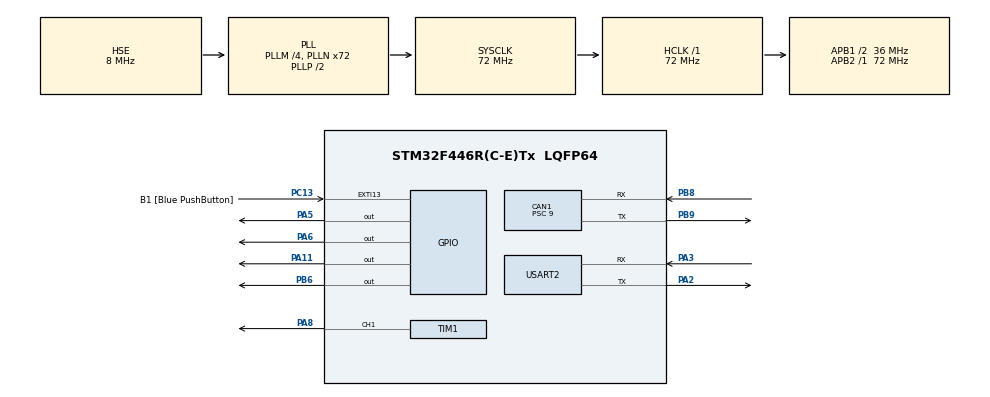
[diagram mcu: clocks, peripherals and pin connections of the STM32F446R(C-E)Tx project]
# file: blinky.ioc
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Mcu.Family=STM32F4
PH0-OSC_IN.Signal=RCC_OSC_IN
RCC.CortexFreq_Value=72000000
TIM14.AutoReloadPreload=TIM_AUTORELOAD_PRELOAD_ENABLE
PA14.GPIO_Label=TCK
TIM1.Pulse-PWM\ Generation1\ CH1=2000
PC13.GPIO_Label=B1 [Blue PushButton]
RCC.SYSCLKSource=RCC_SYSCLKSOURCE_PLLCLK
ProjectManager.StackSize=0x400
TIM1.Prescaler=8
RCC.HCLKFreq_Value=72000000
RCC.APB2TimFreq_Value=72000000
PB6.Signal=GPIO_Output
RCC.AHBFreq_Value=72000000
PH0-OSC_IN.Mode=HSE-External-Oscillator
NVIC.EXTI15_10_IRQn=true\:0\:0\:false\:false\:true\:true\:true
RCC.HSE_VALUE=8000000
NVIC.TIM8_TRG_COM_TIM14_IRQn=true\:0\:0\:false\:false\:true\:true\:true
TIM14.Period=10000
PC14-OSC32_IN.Mode=LSE-External-Oscillator
TIM1.Channel-PWM\ Generation1\ CH1=TIM_CHANNEL_1
PA14.Mode=Serial_Wire
PA8.Signal=S_TIM1_CH1
RCC.FLatency-AdvancedSettings=FLASH_LATENCY_2
PH1-OSC_OUT.Mode=HSE-External-Oscillator
CAN1.Prescaler=9
Mcu.Package=LQFP64
PB9.Signal=CAN1_TX
PA6.Signal=GPIO_Output
USART2.VirtualMode=VM_ASYNC
RCC.APB1TimFreq_Value=72000000
TIM1.Period=4800
VP_TIM14_VS_ClockSourceINT.Mode=Enable_Timer
CAN1.CalculateTimeBit=1000.00
PA8.GPIO_Speed=GPIO_SPEED_FREQ_HIGH
PA3.Signal=USART2_RX
CAN1.CalculateTimeQuantum=250.0
RCC.PLLSourceVirtual=RCC_PLLSOURCE_HSE
PC15-OSC32_OUT.Mode=LSE-External-Oscillator
PC13.Signal=GPXTI13
CAN1.CalculateBaudRate=1000000
RCC.APB1CLKDivider=RCC_HCLK_DIV2
PC14-OSC32_IN.Signal=RCC_OSC32_IN
NVIC.USART2_IRQn=true\:0\:0\:false\:false\:true\:true\:true
PA13.Signal=SYS_JTMS-SWDIO
PA3.Mode=Asynchronous
SH.S_TIM1_CH1.0=TIM1_CH1,PWM Generation1 CH1
CAN1.BS1=CAN_BS1_2TQ
ProjectManager.TargetToolchain=STM32CubeIDE
PB9.Mode=CAN_Activate
RCC.USBFreq_Value=48000000
PC15-OSC32_OUT.Signal=RCC_OSC32_OUT
PA5.Signal=GPIO_Output
board=NUCLEO-F446RE
RCC.VCOOutputFreq_Value=144000000
RCC.APB2Freq_Value=72000000
PH1-OSC_OUT.Signal=RCC_OSC_OUT
PA13.Mode=Serial_Wire
Mcu.Name=STM32F446R(C-E)Tx
TIM14.Prescaler=7200-1
PA13.GPIO_Label=TMS
PA2.Signal=USART2_TX
RCC.48MHZClocksFreq_Value=84000000
RCC.SYSCLKFreq_VALUE=72000000
PC13.GPIO_ModeDefaultEXTI=GPIO_MODE_IT_FALLING
PA11.Signal=GPIO_Output
PA14.Signal=SYS_JTCK-SWCLK
ProjectManager.HeapSize=0x200
RCC.HSI_VALUE=16000000
RCC.PLLQ=3
NVIC.PriorityGroup=NVIC_PRIORITYGROUP_0
RCC.PLLM=4
PB8.Mode=CAN_Activate
RCC.PLLN=72
PA2.Mode=Asynchronous
PB8.Signal=CAN1_RX
RCC.APB1Freq_Value=36000000
NVIC.CAN1_RX0_IRQn=true\:0\:0\:false\:false\:true\:true\:true

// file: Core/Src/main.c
/* USER CODE BEGIN Header */
/**
  ******************************************************************************
  * @file           : main.c
  * @brief          : Main program body
  ******************************************************************************
  * @attention
  *
  * <h2><center>&copy; Copyright (c) 2021 STMicroelectronics.
  * All rights reserved.</center></h2>
  *
  * This software component is licensed by ST under BSD 3-Clause license,
  * the "License"; You may not use this file except in compliance with the
  * License. You may obtain a copy of the License at:
  *                        opensource.org/licenses/BSD-3-Clause
  *
  ******************************************************************************
  */
/* USER CODE END Header */
#include "main.h"

/* USER CODE BEGIN Includes */
#include <string.h>
#include <stdlib.h>
#include <stdbool.h>
/* USER CODE END Includes */

CAN_HandleTypeDef hcan1;

TIM_HandleTypeDef htim1;
TIM_HandleTypeDef htim14;

UART_HandleTypeDef huart2;

/* USER CODE BEGIN PV */
bool cdc_dtr;
uint8_t rx_data[8];
uint8_t tx_data[8];
uint32_t TxMailbox;

CAN_TxHeaderTypeDef pHeader; //declare a specific header for message transmittions
CAN_RxHeaderTypeDef pRxHeader; //declare header for message reception

////

bool is_first = true;
int last_pos;
int cur_pos;
uint8_t UART1_rxBuffer[12] = {0};
/* USER CODE END PV */

void SystemClock_Config(void);
static void MX_GPIO_Init(void);
static void MX_USART2_UART_Init(void);
static void MX_TIM14_Init(void);
static void MX_TIM1_Init(void);
static void MX_CAN1_Init(void);
/* USER CODE BEGIN PFP */
void DMATransferComplete(DMA_HandleTypeDef *hdma);
/* USER CODE END PFP */

/* USER CODE BEGIN 0 */
int x = 0;
int p_target = 8000;
void can_filter_init(void);
/* USER CODE END 0 */

int main(void)
{

  /* MCU Configuration--------------------------------------------------------*/

  /* Reset of all peripherals, Initializes the Flash interface and the Systick. */
  HAL_Init();

  /* Configure the system clock */
  SystemClock_Config();

  /* Initialize all configured peripherals */
  MX_GPIO_Init();
  MX_USART2_UART_Init();
  MX_TIM14_Init();
  MX_TIM1_Init();
  MX_CAN1_Init();
  /* USER CODE BEGIN 2 */
  HAL_TIM_Base_Start_IT(&htim14);
  HAL_TIM_PWM_Start(&htim1, TIM_CHANNEL_1);
  HAL_UART_Receive_IT (&huart2, UART1_rxBuffer, 4);

  can_filter_init();
	HAL_CAN_Start(&hcan1); //start CAN
	HAL_CAN_ActivateNotification(&hcan1, CAN_IT_RX_FIFO0_MSG_PENDING); //enable interrupts
  /* USER CODE END 2 */

  /* Infinite loop */
  /* USER CODE BEGIN WHILE */
  while (1)
  {

//	  uint16_t timer_val = __HAL_TIM_GET_COUNTER(&htim14);
//	HAL_Delay(50);
//	  timer_val = __HAL_TIM_GET_COUNTER(&htim14) - timer_val;
	uint8_t buf[30];
	sprintf (buf, "%d pos %d vel %d\r\n", x, cur_pos, (int16_t)(rx_data[2] << 8 | rx_data[3]));

//	if (HAL_GPIO_ReadPin(GPIOC, GPIO_PIN_13) == GPIO_PIN_SET) {
////		HAL_GPIO_WritePin(GPIOA, GPIO_PIN_6, GPIO_PIN_SET);
//		htim1.Instance->CCR1 = 1000;
//	}
//	else {
////		HAL_GPIO_WritePin(GPIOA, GPIO_PIN_6, GPIO_PIN_RESET);
//		htim1.Instance->CCR1 = 4000;
//	}
	HAL_Delay(50);
//	HAL_UART_Transmit(&huart2, &cur_pos, sizeof(cur_pos), HAL_MAX_DELAY);
//	HAL_GPIO_TogglePin(GPIOA, GPIO_PIN_5);
    /* USER CODE END WHILE */

  }
}

void SystemClock_Config(void)
{
  RCC_OscInitTypeDef RCC_OscInitStruct = {0};
  RCC_ClkInitTypeDef RCC_ClkInitStruct = {0};

  /** Configure the main internal regulator output voltage
  */
  __HAL_RCC_PWR_CLK_ENABLE();
  __HAL_PWR_VOLTAGESCALING_CONFIG(PWR_REGULATOR_VOLTAGE_SCALE3);
  /** Initializes the RCC Oscillators according to the specified parameters
  * in the RCC_OscInitTypeDef structure.
  */
  RCC_OscInitStruct.OscillatorType = RCC_OSCILLATORTYPE_HSE;
  RCC_OscInitStruct.HSEState = RCC_HSE_ON;
  RCC_OscInitStruct.PLL.PLLState = RCC_PLL_ON;
  RCC_OscInitStruct.PLL.PLLSource = RCC_PLLSOURCE_HSE;
  RCC_OscInitStruct.PLL.PLLM = 4;
  RCC_OscInitStruct.PLL.PLLN = 72;
  RCC_OscInitStruct.PLL.PLLP = RCC_PLLP_DIV2;
  RCC_OscInitStruct.PLL.PLLQ = 3;
  RCC_OscInitStruct.PLL.PLLR = 2;
  if (HAL_RCC_OscConfig(&RCC_OscInitStruct) != HAL_OK)
  {
    Error_Handler();
  }
  /** Initializes the CPU, AHB and APB buses clocks
  */
  RCC_ClkInitStruct.ClockType = RCC_CLOCKTYPE_HCLK|RCC_CLOCKTYPE_SYSCLK
                              |RCC_CLOCKTYPE_PCLK1|RCC_CLOCKTYPE_PCLK2;
  RCC_ClkInitStruct.SYSCLKSource = RCC_SYSCLKSOURCE_PLLCLK;
  RCC_ClkInitStruct.AHBCLKDivider = RCC_SYSCLK_DIV1;
  RCC_ClkInitStruct.APB1CLKDivider = RCC_HCLK_DIV2;
  RCC_ClkInitStruct.APB2CLKDivider = RCC_HCLK_DIV1;

  if (HAL_RCC_ClockConfig(&RCC_ClkInitStruct, FLASH_LATENCY_2) != HAL_OK)
  {
    Error_Handler();
  }
}

static void MX_CAN1_Init(void)
{

  hcan1.Instance = CAN1;
  hcan1.Init.Prescaler = 9;
  hcan1.Init.Mode = CAN_MODE_NORMAL;
  hcan1.Init.SyncJumpWidth = CAN_SJW_1TQ;
  hcan1.Init.TimeSeg1 = CAN_BS1_2TQ;
  hcan1.Init.TimeSeg2 = CAN_BS2_1TQ;
  hcan1.Init.TimeTriggeredMode = DISABLE;
  hcan1.Init.AutoBusOff = DISABLE;
  hcan1.Init.AutoWakeUp = DISABLE;
  hcan1.Init.AutoRetransmission = DISABLE;
  hcan1.Init.ReceiveFifoLocked = DISABLE;
  hcan1.Init.TransmitFifoPriority = DISABLE;
  if (HAL_CAN_Init(&hcan1) != HAL_OK)
  {
    Error_Handler();
  }

}

static void MX_TIM1_Init(void)
{

  TIM_MasterConfigTypeDef sMasterConfig = {0};
  TIM_OC_InitTypeDef sConfigOC = {0};
  TIM_BreakDeadTimeConfigTypeDef sBreakDeadTimeConfig = {0};

  htim1.Instance = TIM1;
  htim1.Init.Prescaler = 8;
  htim1.Init.CounterMode = TIM_COUNTERMODE_UP;
  htim1.Init.Period = 4800;
  htim1.Init.ClockDivision = TIM_CLOCKDIVISION_DIV1;
  htim1.Init.RepetitionCounter = 0;
  htim1.Init.AutoReloadPreload = TIM_AUTORELOAD_PRELOAD_DISABLE;
  if (HAL_TIM_PWM_Init(&htim1) != HAL_OK)
  {
    Error_Handler();
  }
  sMasterConfig.MasterOutputTrigger = TIM_TRGO_RESET;
  sMasterConfig.MasterSlaveMode = TIM_MASTERSLAVEMODE_DISABLE;
  if (HAL_TIMEx_MasterConfigSynchronization(&htim1, &sMasterConfig) != HAL_OK)
  {
    Error_Handler();
  }
  sConfigOC.OCMode = TIM_OCMODE_PWM1;
  sConfigOC.Pulse = 2000;
  sConfigOC.OCPolarity = TIM_OCPOLARITY_HIGH;
  sConfigOC.OCNPolarity = TIM_OCNPOLARITY_HIGH;
  sConfigOC.OCFastMode = TIM_OCFAST_DISABLE;
  sConfigOC.OCIdleState = TIM_OCIDLESTATE_RESET;
  sConfigOC.OCNIdleState = TIM_OCNIDLESTATE_RESET;
  if (HAL_TIM_PWM_ConfigChannel(&htim1, &sConfigOC, TIM_CHANNEL_1) != HAL_OK)
  {
    Error_Handler();
  }
  sBreakDeadTimeConfig.OffStateRunMode = TIM_OSSR_DISABLE;
  sBreakDeadTimeConfig.OffStateIDLEMode = TIM_OSSI_DISABLE;
  sBreakDeadTimeConfig.LockLevel = TIM_LOCKLEVEL_OFF;
  sBreakDeadTimeConfig.DeadTime = 0;
  sBreakDeadTimeConfig.BreakState = TIM_BREAK_DISABLE;
  sBreakDeadTimeConfig.BreakPolarity = TIM_BREAKPOLARITY_HIGH;
  sBreakDeadTimeConfig.AutomaticOutput = TIM_AUTOMATICOUTPUT_DISABLE;
  if (HAL_TIMEx_ConfigBreakDeadTime(&htim1, &sBreakDeadTimeConfig) != HAL_OK)
  {
    Error_Handler();
  }
  HAL_TIM_MspPostInit(&htim1);

}

static void MX_TIM14_Init(void)
{

  htim14.Instance = TIM14;
  htim14.Init.Prescaler = 7200-1;
  htim14.Init.CounterMode = TIM_COUNTERMODE_UP;
  htim14.Init.Period = 10000;
  htim14.Init.ClockDivision = TIM_CLOCKDIVISION_DIV1;
  htim14.Init.AutoReloadPreload = TIM_AUTORELOAD_PRELOAD_ENABLE;
  if (HAL_TIM_Base_Init(&htim14) != HAL_OK)
  {
    Error_Handler();
  }

}

static void MX_USART2_UART_Init(void)
{

  huart2.Instance = USART2;
  huart2.Init.BaudRate = 115200;
  huart2.Init.WordLength = UART_WORDLENGTH_8B;
  huart2.Init.StopBits = UART_STOPBITS_1;
  huart2.Init.Parity = UART_PARITY_NONE;
  huart2.Init.Mode = UART_MODE_TX_RX;
  huart2.Init.HwFlowCtl = UART_HWCONTROL_NONE;
  huart2.Init.OverSampling = UART_OVERSAMPLING_16;
  if (HAL_UART_Init(&huart2) != HAL_OK)
  {
    Error_Handler();
  }

}

static void MX_GPIO_Init(void)
{
  GPIO_InitTypeDef GPIO_InitStruct = {0};

  /* GPIO Ports Clock Enable */
  __HAL_RCC_GPIOC_CLK_ENABLE();
  __HAL_RCC_GPIOH_CLK_ENABLE();
  __HAL_RCC_GPIOA_CLK_ENABLE();
  __HAL_RCC_GPIOB_CLK_ENABLE();

  /*Configure GPIO pin Output Level */
  HAL_GPIO_WritePin(GPIOA, GPIO_PIN_5|GPIO_PIN_6|GPIO_PIN_11, GPIO_PIN_RESET);

  /*Configure GPIO pin Output Level */
  HAL_GPIO_WritePin(GPIOB, GPIO_PIN_6, GPIO_PIN_RESET);

  /*Configure GPIO pin : B1_Pin */
  GPIO_InitStruct.Pin = B1_Pin;
  GPIO_InitStruct.Mode = GPIO_MODE_IT_FALLING;
  GPIO_InitStruct.Pull = GPIO_NOPULL;
  HAL_GPIO_Init(B1_GPIO_Port, &GPIO_InitStruct);

  /*Configure GPIO pins : PA5 PA6 PA11 */
  GPIO_InitStruct.Pin = GPIO_PIN_5|GPIO_PIN_6|GPIO_PIN_11;
  GPIO_InitStruct.Mode = GPIO_MODE_OUTPUT_PP;
  GPIO_InitStruct.Pull = GPIO_NOPULL;
  GPIO_InitStruct.Speed = GPIO_SPEED_FREQ_LOW;
  HAL_GPIO_Init(GPIOA, &GPIO_InitStruct);

  /*Configure GPIO pin : PB6 */
  GPIO_InitStruct.Pin = GPIO_PIN_6;
  GPIO_InitStruct.Mode = GPIO_MODE_OUTPUT_PP;
  GPIO_InitStruct.Pull = GPIO_NOPULL;
  GPIO_InitStruct.Speed = GPIO_SPEED_FREQ_LOW;
  HAL_GPIO_Init(GPIOB, &GPIO_InitStruct);

  /* EXTI interrupt init*/
  HAL_NVIC_SetPriority(EXTI15_10_IRQn, 0, 0);
  HAL_NVIC_EnableIRQ(EXTI15_10_IRQn);

}

/* USER CODE BEGIN 4 */
void HAL_TIM_PeriodElapsedCallback(TIM_HandleTypeDef *htim) {
//	if (htim == &htim14)
//		HAL_GPIO_TogglePin(GPIOA, GPIO_PIN_5);
}

void DMATransferComplete(DMA_HandleTypeDef *hdma) {
	HAL_GPIO_TogglePin(GPIOA, GPIO_PIN_5);
}

bool off = false;

void HAL_GPIO_EXTI_Callback(uint16_t GPIO_Pin)
{
    if(GPIO_Pin == GPIO_PIN_13) // If The INT Source Is EXTI Line9 (A9 Pin)
    {
    	if (!off)
    		htim1.Instance->CCR1 = 1000;
    	else
    		htim1.Instance->CCR1 = 4000;
    	off = !off;
    }
}

void can_filter_init(void)
{

    CAN_FilterTypeDef can_filter_st;
    can_filter_st.FilterActivation = ENABLE;
    can_filter_st.FilterMode = CAN_FILTERMODE_IDMASK;
    can_filter_st.FilterScale = CAN_FILTERSCALE_32BIT;
    can_filter_st.FilterIdHigh = 0x0000;
    can_filter_st.FilterIdLow = 0x0000;
    can_filter_st.FilterMaskIdHigh = 0x0000;
    can_filter_st.FilterMaskIdLow = 0x0000;
    can_filter_st.FilterBank = 0;
    can_filter_st.FilterFIFOAssignment = CAN_RX_FIFO0;
    HAL_CAN_ConfigFilter(&hcan1, &can_filter_st);
}

void HAL_UART_RxCpltCallback(UART_HandleTypeDef *huart)
{
	if(huart->Instance == USART2) {
		HAL_GPIO_TogglePin(GPIOA, GPIO_PIN_5);
		HAL_UART_Receive_IT (&huart2, UART1_rxBuffer, 4);
		p_target = UART1_rxBuffer[0] << 24 | UART1_rxBuffer[1] << 16 | UART1_rxBuffer[2] << 8 | UART1_rxBuffer[3];
	}
}
/* USER CODE END 4 */

void Error_Handler(void)
{
  __disable_irq();
  while (1)
  {
  }
}

/************************ (C) COPYRIGHT STMicroelectronics *****END OF FILE****/
